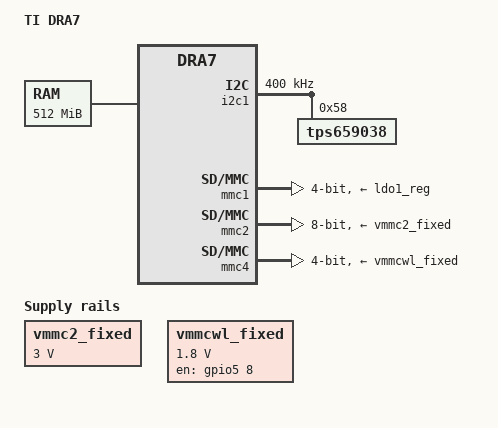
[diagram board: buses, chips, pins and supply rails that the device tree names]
/*
 * Copyright (C) 2013 Texas Instruments Incorporated - http://www.ti.com/
 *
 * This program is free software; you can redistribute it and/or modify
 * it under the terms of the GNU General Public License version 2 as
 * published by the Free Software Foundation.
 */
/dts-v1/;

/include/ "dra7.dtsi"

/ {
	model = "TI DRA7";
	compatible = "ti,dra7-evm", "ti,dra7";

	memory {
		device_type = "memory";
		reg = <0x80000000 0x20000000>; /* 512 MB */
	};
	vmmc2_fixed: fixedregulator-mmc2 {
		compatible = "regulator-fixed";
		regulator-name = "vmmc2_fixed";
		regulator-min-microvolt = <3000000>;
		regulator-max-microvolt = <3000000>;
	};

	vmmcwl_fixed: fixedregulator-mmcwl {
		compatible = "regulator-fixed";
		regulator-name = "vmmcwl_fixed";
		regulator-min-microvolt = <1800000>;
		regulator-max-microvolt = <1800000>;
		gpio = <&gpio5 8 0>;	/* gpio5_8 */
		startup-delay-us = <70000>;
		enable-active-high;
	};



};


&i2c1 {
	clock-frequency = <400000>;

	tps659038: tps659038@58 {
		reg = <0x58>;
	};

};

/include/ "tps659038.dtsi"



&mmc1 {
	vmmc-supply = <&ldo1_reg>;
	bus-width = <4>;
};

&mmc2 {
	vmmc-supply = <&vmmc2_fixed>;
	bus-width = <8>;
	ti,non-removable;
};

&mmc3 {
	bus-width = <8>;
	ti,non-removable;
	status = "disabled";
};

&mmc4 {
	vmmc-supply = <&vmmcwl_fixed>;
	bus-width = <4>;
	cap-power-off-card;
	keep-power-in-suspend;
	ti,non-removable;
};


